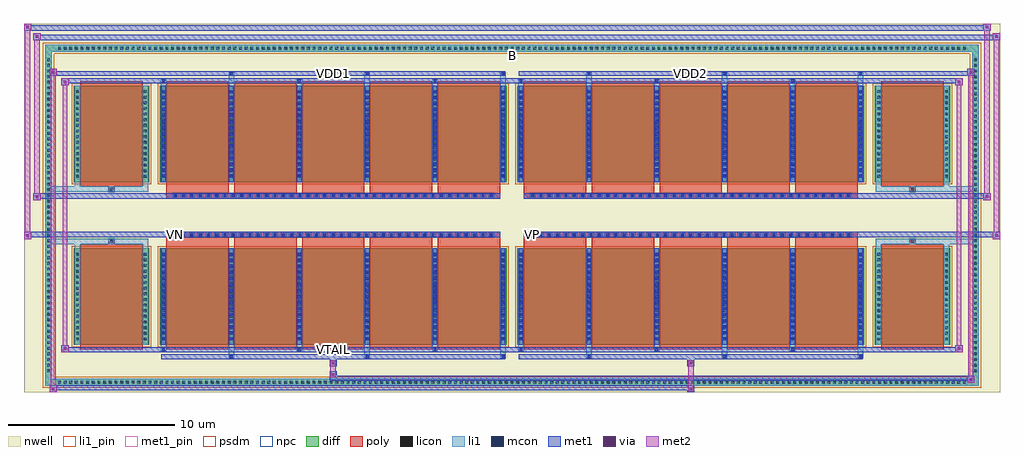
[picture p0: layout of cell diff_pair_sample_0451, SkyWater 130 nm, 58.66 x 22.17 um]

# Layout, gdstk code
import gdstk
lib = gdstk.Library(unit=1e-6, precision=5e-09)
def R(c, l, rs):  # rectangles x0, y0, x1, y1
    for r in rs: c.add(gdstk.rectangle(r[:2], r[2:], *l))
def A(c, l, x, y, w, h, nx, ny, dx, dy):  # array of equal rectangles
    R(c, l, [(x+i*dx, y+j*dy, x+i*dx+w, y+j*dy+h) for i in range(nx) for j in range(ny)])
def P(c, l, *ps):  # polygons
    for p in ps: c.add(gdstk.Polygon(p, *l))
nwell = (64, 20)
diff = (65, 20)
poly = (66, 20)
licon = (66, 44)
li1_pin = (67, 16)
li1 = (67, 20)
mcon = (67, 44)
met1_pin = (68, 16)
met1 = (68, 20)
via = (68, 44)
met2 = (69, 20)
psdm = (94, 20)
npc = (95, 20)

diff_pair_sample_0451 = lib.new_cell('diff_pair_sample_0451')
R(diff_pair_sample_0451, nwell, [(-29.33,-10.65,29.33,11.52), (-26.65,-8.84,-0.01,-0.8), (0.01,-8.84,26.65,-0.8), (-26.65,0.8,-0.01,8.84), (0.01,0.8,26.65,8.84)])
A(diff_pair_sample_0451, diff, -27.405, -10.25, 0.41, 0.41, 161, 2, 0.34, 20.09)
A(diff_pair_sample_0451, diff, -28.06, -9.555, 0.41, 0.41, 1, 56, 0, 0.34)
A(diff_pair_sample_0451, diff, 27.65, -9.555, 0.41, 0.41, 1, 56, 0, 0.34)
R(diff_pair_sample_0451, diff, [(-27.405,-10.25,27.405,-9.84), (-28.06,-9.555,-27.65,9.555), (27.65,-9.555,28.06,9.555), (-26.34,-7.795,-21.81,-1.985), (-21.17,-7.795,-0.32,-1.985), (0.32,-7.795,21.17,-1.985), (21.81,-7.795,26.34,-1.985), (-26.34,1.985,-21.81,7.795), (-21.17,1.985,-0.32,7.795), (0.32,1.985,21.17,7.795), (21.81,1.985,26.34,7.795), (-27.405,9.84,27.405,10.25)])
P(diff_pair_sample_0451, diff, [(28.06,10.25),(-28.06,10.25),(-28.06,-9.84),(-27.65,-9.84),(-27.65,9.84),(27.65,9.84),(27.65,-9.84),(-27.65,-9.84),(-28.06,-9.84),(-28.06,-10.25),(28.06,-10.25)])
A(diff_pair_sample_0451, poly, -20.78, -8.045, 3.75, 6.31, 5, 2, 4.08, 9.78)
A(diff_pair_sample_0451, poly, 0.71, -8.045, 3.75, 6.31, 5, 2, 4.08, 9.78)
A(diff_pair_sample_0451, poly, -20.78, -1.735, 3.75, 0.405, 5, 2, 4.08, 3.065)
A(diff_pair_sample_0451, poly, 0.71, -1.735, 3.75, 0.405, 5, 2, 4.08, 3.065)
A(diff_pair_sample_0451, poly, -20.41, -1.33, 0.33, 0.33, 39, 2, 0.5, 2.33)
A(diff_pair_sample_0451, poly, 1.08, -1.33, 0.33, 0.33, 39, 2, 0.5, 2.33)
R(diff_pair_sample_0451, poly, [(-25.95,-8.045,-22.2,-1.735), (22.2,-8.045,25.95,-1.735), (-24.24,-1.735,-23.91,-1.405), (-24.24,-1.735,-23.91,-1.405), (23.91,-1.735,24.24,-1.405), (23.91,-1.735,24.24,-1.405), (-20.78,-1.33,-0.71,-1), (0.71,-1.33,20.78,-1), (-20.78,1,-0.71,1.33), (0.71,1,20.78,1.33), (-24.24,1.405,-23.91,1.735), (-24.24,1.405,-23.91,1.735), (23.91,1.405,24.24,1.735), (23.91,1.405,24.24,1.735), (-25.95,1.735,-22.2,8.045), (22.2,1.735,25.95,8.045)])
A(diff_pair_sample_0451, licon, -27.285, -10.13, 0.17, 0.17, 161, 2, 0.34, 20.09)
A(diff_pair_sample_0451, licon, -27.94, -9.435, 0.17, 0.17, 1, 56, 0, 0.34)
A(diff_pair_sample_0451, licon, 27.77, -9.435, 0.17, 0.17, 1, 56, 0, 0.34)
A(diff_pair_sample_0451, licon, -26.2, -7.525, 0.17, 0.17, 1, 16, 0, 0.34)
A(diff_pair_sample_0451, licon, -22.12, -7.525, 0.17, 0.17, 1, 16, 0, 0.34)
A(diff_pair_sample_0451, licon, -21.03, -7.525, 0.17, 0.17, 6, 16, 4.08, 0.34)
A(diff_pair_sample_0451, licon, 0.46, -7.525, 0.17, 0.17, 6, 16, 4.08, 0.34)
A(diff_pair_sample_0451, licon, 21.95, -7.525, 0.17, 0.17, 1, 16, 0, 0.34)
A(diff_pair_sample_0451, licon, 26.03, -7.525, 0.17, 0.17, 1, 16, 0, 0.34)
A(diff_pair_sample_0451, licon, -20.33, -1.25, 0.17, 0.17, 39, 2, 0.5, 2.33)
A(diff_pair_sample_0451, licon, 1.16, -1.25, 0.17, 0.17, 39, 2, 0.5, 2.33)
A(diff_pair_sample_0451, licon, -26.2, 2.255, 0.17, 0.17, 1, 16, 0, 0.34)
A(diff_pair_sample_0451, licon, -22.12, 2.255, 0.17, 0.17, 1, 16, 0, 0.34)
A(diff_pair_sample_0451, licon, -21.03, 2.255, 0.17, 0.17, 6, 16, 4.08, 0.34)
A(diff_pair_sample_0451, licon, 0.46, 2.255, 0.17, 0.17, 6, 16, 4.08, 0.34)
A(diff_pair_sample_0451, licon, 21.95, 2.255, 0.17, 0.17, 1, 16, 0, 0.34)
A(diff_pair_sample_0451, licon, 26.03, 2.255, 0.17, 0.17, 1, 16, 0, 0.34)
R(diff_pair_sample_0451, licon, [(-24.16,-1.655,-23.99,-1.485), (23.99,-1.655,24.16,-1.485), (-24.16,1.485,-23.99,1.655), (23.99,1.485,24.16,1.655)])
R(diff_pair_sample_0451, li1_pin, [(-0.25,9.34,0.25,9.84)])
A(diff_pair_sample_0451, li1, -27.365, -10.21, 0.33, 0.33, 161, 2, 0.34, 20.09)
A(diff_pair_sample_0451, li1, -28.02, -9.515, 0.33, 0.33, 1, 56, 0, 0.34)
A(diff_pair_sample_0451, li1, 27.69, -9.515, 0.33, 0.33, 1, 56, 0, 0.34)
A(diff_pair_sample_0451, li1, -17.03, -8.6, 0.33, 0.805, 3, 2, 8.16, 16.395)
A(diff_pair_sample_0451, li1, -16.95, -8.6, 0.17, 0.17, 3, 2, 8.16, 17.03)
A(diff_pair_sample_0451, li1, 4.46, -8.6, 0.33, 0.805, 3, 2, 8.16, 16.395)
A(diff_pair_sample_0451, li1, 4.54, -8.6, 0.17, 0.17, 3, 2, 8.16, 17.03)
A(diff_pair_sample_0451, li1, -21.11, -8.17, 0.33, 0.375, 3, 2, 8.16, 15.965)
A(diff_pair_sample_0451, li1, -21.03, -8.17, 0.17, 0.17, 3, 2, 8.16, 16.17)
A(diff_pair_sample_0451, li1, 0.38, -8.17, 0.33, 0.375, 3, 2, 8.16, 15.965)
A(diff_pair_sample_0451, li1, 0.46, -8.17, 0.17, 0.17, 3, 2, 8.16, 16.17)
A(diff_pair_sample_0451, li1, -21.11, -7.795, 0.33, 5.81, 6, 2, 4.08, 9.78)
A(diff_pair_sample_0451, li1, 0.38, -7.795, 0.33, 5.81, 6, 2, 4.08, 9.78)
A(diff_pair_sample_0451, li1, -26.28, -7.605, 0.33, 0.33, 1, 16, 0, 0.34)
A(diff_pair_sample_0451, li1, -22.2, -7.605, 0.33, 0.33, 1, 16, 0, 0.34)
A(diff_pair_sample_0451, li1, -21.11, -7.605, 0.33, 0.33, 6, 16, 4.08, 0.34)
A(diff_pair_sample_0451, li1, 0.38, -7.605, 0.33, 0.33, 6, 16, 4.08, 0.34)
A(diff_pair_sample_0451, li1, 21.87, -7.605, 0.33, 0.33, 1, 16, 0, 0.34)
A(diff_pair_sample_0451, li1, 25.95, -7.605, 0.33, 0.33, 1, 16, 0, 0.34)
A(diff_pair_sample_0451, li1, -21.03, -7.495, 0.17, 0.17, 6, 15, 4.08, 0.36)
A(diff_pair_sample_0451, li1, -21.03, -7.495, 0.17, 5.21, 6, 2, 4.08, 9.78)
A(diff_pair_sample_0451, li1, 0.46, -7.495, 0.17, 0.17, 6, 15, 4.08, 0.36)
A(diff_pair_sample_0451, li1, 0.46, -7.495, 0.17, 5.21, 6, 2, 4.08, 9.78)
A(diff_pair_sample_0451, li1, -20.41, -1.33, 0.33, 0.33, 39, 2, 0.5, 2.33)
A(diff_pair_sample_0451, li1, 1.08, -1.33, 0.33, 0.33, 39, 2, 0.5, 2.33)
A(diff_pair_sample_0451, li1, -26.28, 2.175, 0.33, 0.33, 1, 16, 0, 0.34)
A(diff_pair_sample_0451, li1, -22.2, 2.175, 0.33, 0.33, 1, 16, 0, 0.34)
A(diff_pair_sample_0451, li1, -21.11, 2.175, 0.33, 0.33, 6, 16, 4.08, 0.34)
A(diff_pair_sample_0451, li1, 0.38, 2.175, 0.33, 0.33, 6, 16, 4.08, 0.34)
A(diff_pair_sample_0451, li1, 21.87, 2.175, 0.33, 0.33, 1, 16, 0, 0.34)
A(diff_pair_sample_0451, li1, 25.95, 2.175, 0.33, 0.33, 1, 16, 0, 0.34)
A(diff_pair_sample_0451, li1, -21.03, 2.285, 0.17, 0.17, 6, 15, 4.08, 0.36)
A(diff_pair_sample_0451, li1, 0.46, 2.285, 0.17, 0.17, 6, 15, 4.08, 0.36)
R(diff_pair_sample_0451, li1, [(-28.06,-10.25,-27.65,-9.84), (-28.06,-10.25,-27.65,-9.84), (-27.65,-10.25,27.65,-9.84), (27.65,-10.25,28.06,-9.84), (27.65,-10.25,28.06,-9.84), (-28.06,-9.84,-27.65,9.84), (27.65,-9.84,28.06,9.84), (-26.28,-7.795,-25.95,-1.985), (-22.2,-7.795,-21.87,-1.985), (21.87,-7.795,22.2,-1.985), (25.95,-7.795,26.28,-1.985), (-26.28,-1.985,-25.95,-1.405), (-22.2,-1.985,-21.87,-1.405), (21.87,-1.985,22.2,-1.405), (25.95,-1.985,26.28,-1.405), (-28.06,-1.735,-24.24,-1.405), (-26.28,-1.735,-24.24,-1.405), (-24.24,-1.735,-23.91,-1.405), (-23.91,-1.735,-21.87,-1.405), (21.87,-1.735,23.91,-1.405), (23.91,-1.735,24.24,-1.405), (23.91,-1.735,28.06,-1.405), (24.24,-1.735,26.28,-1.405), (-28.06,1.405,-24.24,1.735), (-26.28,1.405,-24.24,1.735), (-26.28,1.405,-25.95,1.985), (-24.24,1.405,-23.91,1.735), (-23.91,1.405,-21.87,1.735), (-22.2,1.405,-21.87,1.985), (21.87,1.405,23.91,1.735), (21.87,1.405,22.2,1.985), (23.91,1.405,24.24,1.735), (23.91,1.405,28.06,1.735), (24.24,1.405,26.28,1.735), (25.95,1.405,26.28,1.985), (-26.28,1.985,-25.95,7.795), (-22.2,1.985,-21.87,7.795), (21.87,1.985,22.2,7.795), (25.95,1.985,26.28,7.795), (-28.06,9.84,-27.65,10.25), (-28.06,9.84,-27.65,10.25), (-27.65,9.84,27.65,10.25), (27.65,9.84,28.06,10.25), (27.65,9.84,28.06,10.25)])
A(diff_pair_sample_0451, mcon, -16.95, -8.6, 0.17, 0.17, 3, 2, 8.16, 17.03)
A(diff_pair_sample_0451, mcon, 4.54, -8.6, 0.17, 0.17, 3, 2, 8.16, 17.03)
A(diff_pair_sample_0451, mcon, -21.03, -8.17, 0.17, 0.17, 3, 2, 8.16, 16.17)
A(diff_pair_sample_0451, mcon, 0.46, -8.17, 0.17, 0.17, 3, 2, 8.16, 16.17)
A(diff_pair_sample_0451, mcon, -21.03, -7.495, 0.17, 0.17, 6, 15, 4.08, 0.36)
A(diff_pair_sample_0451, mcon, 0.46, -7.495, 0.17, 0.17, 6, 15, 4.08, 0.36)
A(diff_pair_sample_0451, mcon, -20.33, -1.25, 0.17, 0.17, 39, 2, 0.5, 2.33)
A(diff_pair_sample_0451, mcon, 1.16, -1.25, 0.17, 0.17, 39, 2, 0.5, 2.33)
A(diff_pair_sample_0451, mcon, -21.03, 2.285, 0.17, 0.17, 6, 15, 4.08, 0.36)
A(diff_pair_sample_0451, mcon, 0.46, 2.285, 0.17, 0.17, 6, 15, 4.08, 0.36)
R(diff_pair_sample_0451, met1_pin, [(-10.88,-8.21,-10.61,-7.94), (-20.38,-1.29,-20.11,-1.02), (1.11,-1.29,1.38,-1.02), (-10.88,8.39,-10.61,8.66), (10.61,8.39,10.88,8.66)])
A(diff_pair_sample_0451, met1, -17.01, -8.66, 0.29, 0.29, 3, 2, 8.16, 17.03)
A(diff_pair_sample_0451, met1, 4.48, -8.66, 0.29, 0.29, 3, 2, 8.16, 17.03)
A(diff_pair_sample_0451, met1, -21.09, -8.23, 0.29, 0.29, 3, 2, 8.16, 16.17)
A(diff_pair_sample_0451, met1, 0.4, -8.23, 0.29, 0.29, 3, 2, 8.16, 16.17)
A(diff_pair_sample_0451, met1, -21.09, -7.795, 0.29, 5.81, 6, 2, 4.08, 9.78)
A(diff_pair_sample_0451, met1, 0.4, -7.795, 0.29, 5.81, 6, 2, 4.08, 9.78)
A(diff_pair_sample_0451, met1, -21.09, -7.555, 0.29, 0.29, 6, 15, 4.08, 0.36)
A(diff_pair_sample_0451, met1, 0.4, -7.555, 0.29, 0.29, 6, 15, 4.08, 0.36)
A(diff_pair_sample_0451, met1, -20.39, -1.31, 0.29, 0.29, 39, 2, 0.5, 2.33)
A(diff_pair_sample_0451, met1, 1.1, -1.31, 0.29, 0.29, 39, 2, 0.5, 2.33)
A(diff_pair_sample_0451, met1, -21.09, 2.225, 0.29, 0.29, 6, 15, 4.08, 0.36)
A(diff_pair_sample_0451, met1, 0.4, 2.225, 0.29, 0.29, 6, 15, 4.08, 0.36)
R(diff_pair_sample_0451, met1, [(-27.79,-10.65,-27.36,-10.22), (10.53,-10.65,10.96,-10.22), (-27.79,-10.51,10.96,-10.22), (27.36,-10.08,27.79,-9.65), (-10.96,-9.94,27.79,-9.65), (-10.96,-9.8,-10.53,-9.37), (-10.96,-9.09,-10.53,-8.66), (10.53,-9.09,10.96,-8.66), (-21.09,-8.66,-0.4,-8.37), (0.4,-8.66,21.09,-8.37), (-27.08,-8.23,-26.65,-7.8), (-27.08,-8.23,-21.09,-7.94), (-21.09,-8.23,-0.4,-7.94), (-0.4,-8.23,0.4,-7.94), (0.4,-8.23,21.09,-7.94), (21.09,-8.23,27.08,-7.94), (26.65,-8.23,27.08,-7.8), (-29.33,-1.43,-28.9,-1), (28.9,-1.43,29.33,-1), (-29.33,-1.33,-0.71,-1), (-20.78,-1.33,-0.71,-1), (0.71,-1.33,20.78,-1), (0.71,-1.33,29.33,-1), (-28.76,0.9,-28.33,1.33), (28.33,0.9,28.76,1.33), (-28.76,1,-20.78,1.33), (-20.78,1,-0.71,1.33), (0.71,1,20.78,1.33), (20.78,1,28.76,1.33), (-27.08,7.8,-26.65,8.23), (26.65,7.8,27.08,8.23), (-27.08,7.94,-21.09,8.23), (-21.09,7.94,-0.4,8.23), (-0.4,7.94,0.4,8.23), (0.4,7.94,21.09,8.23), (21.09,7.94,27.08,8.23), (-27.79,8.37,-27.36,8.8), (-27.79,8.37,-21.09,8.66), (-21.09,8.37,-0.4,8.66), (0.4,8.37,21.09,8.66), (21.09,8.37,27.79,8.66), (27.36,8.37,27.79,8.8), (-28.76,10.52,-28.33,10.95), (-28.76,10.52,-26.65,10.85), (-26.65,10.52,26.65,10.85), (26.65,10.52,29.33,10.85), (28.9,10.52,29.33,10.95), (-29.33,11.09,-28.9,11.52), (-29.33,11.09,-26.65,11.42), (-26.65,11.09,26.65,11.42), (26.65,11.09,28.76,11.42), (28.33,11.09,28.76,11.52)])
R(diff_pair_sample_0451, via, [(-27.65,-10.51,-27.5,-10.36), (10.67,-10.51,10.82,-10.36), (27.5,-9.94,27.65,-9.79), (-10.82,-9.66,-10.67,-9.51), (-10.82,-8.95,-10.67,-8.8), (10.67,-8.95,10.82,-8.8), (-26.94,-8.09,-26.79,-7.94), (26.79,-8.09,26.94,-7.94), (-29.19,-1.29,-29.04,-1.14), (29.04,-1.29,29.19,-1.14), (-28.62,1.04,-28.47,1.19), (28.47,1.04,28.62,1.19), (-26.94,7.94,-26.79,8.09), (26.79,7.94,26.94,8.09), (-27.65,8.51,-27.5,8.66), (27.5,8.51,27.65,8.66), (-28.62,10.66,-28.47,10.81), (29.04,10.66,29.19,10.81), (-29.19,11.23,-29.04,11.38), (28.47,11.23,28.62,11.38)])
R(diff_pair_sample_0451, met2, [(-27.79,-10.65,-27.36,-10.22), (-27.72,-10.65,-27.43,8.8), (-27.43,-10.65,-27.36,-10.22), (-27.74,-10.6,-27.41,-10.27), (10.58,-10.6,10.91,-10.27), (10.58,-10.27,10.91,-9.04), (27.36,-10.08,27.79,-9.65), (27.43,-10.08,27.72,8.8), (27.72,-10.08,27.79,-9.65), (27.41,-10.03,27.74,-9.7), (-10.91,-9.75,-10.58,-9.42), (-10.91,-9.42,-10.58,-9.04), (-10.91,-9.04,-10.58,-8.71), (10.58,-9.04,10.91,-8.71), (-27.08,-8.23,-26.65,-7.8), (-27.01,-8.23,-26.72,8.23), (-26.72,-8.23,-26.65,-7.8), (26.65,-8.23,27.08,-7.8), (26.72,-8.23,27.01,8.23), (27.01,-8.23,27.08,-7.8), (-27.03,-8.18,-26.7,-7.85), (26.7,-8.18,27.03,-7.85), (-29.33,-1.43,-28.9,-1), (-29.28,-1.43,-28.95,11.52), (-28.95,-1.43,-28.9,-1), (28.9,-1.43,29.33,-1), (28.95,-1.43,29.28,10.95), (29.28,-1.43,29.33,-1), (-29.28,-1.38,-28.95,-1.05), (28.95,-1.38,29.28,-1.05), (-28.76,0.9,-28.33,1.33), (-28.71,0.9,-28.38,10.95), (-28.38,0.9,-28.33,1.33), (28.33,0.9,28.76,1.33), (28.38,0.9,28.71,11.52), (28.71,0.9,28.76,1.33), (-28.71,0.95,-28.38,1.28), (28.38,0.95,28.71,1.28), (-27.08,7.8,-26.65,8.23), (-26.72,7.8,-26.65,8.23), (26.65,7.8,27.08,8.23), (27.01,7.8,27.08,8.23), (-27.03,7.85,-26.7,8.18), (26.7,7.85,27.03,8.18), (-27.79,8.37,-27.36,8.8), (-27.43,8.37,-27.36,8.8), (27.36,8.37,27.79,8.8), (27.72,8.37,27.79,8.8), (-27.74,8.42,-27.41,8.75), (27.41,8.42,27.74,8.75), (-28.76,10.52,-28.33,10.95), (-28.38,10.52,-28.33,10.95), (28.9,10.52,29.33,10.95), (29.28,10.52,29.33,10.95), (-28.71,10.57,-28.38,10.9), (28.95,10.57,29.28,10.9), (-29.33,11.09,-28.9,11.52), (-28.95,11.09,-28.9,11.52), (28.33,11.09,28.76,11.52), (28.71,11.09,28.76,11.52), (-29.28,11.14,-28.95,11.47), (28.38,11.14,28.71,11.47)])
R(diff_pair_sample_0451, psdm, [(-26.47,-7.925,-21.68,-1.855), (-21.3,-7.925,-0.19,-1.855), (0.19,-7.925,21.3,-1.855), (21.68,-7.925,26.47,-1.855), (-26.47,1.855,-21.68,7.925), (-21.3,1.855,-0.19,7.925), (0.19,1.855,21.3,7.925), (21.68,1.855,26.47,7.925)])
P(diff_pair_sample_0451, psdm, [(28.19,10.38),(-28.19,10.38),(-28.19,-9.71),(-27.52,-9.71),(-27.52,9.71),(27.52,9.71),(27.52,-9.71),(-27.52,-9.71),(-28.19,-9.71),(-28.19,-10.38),(28.19,-10.38)])
A(diff_pair_sample_0451, npc, -20.43, -1.35, 0.37, 0.37, 39, 2, 0.5, 2.33)
A(diff_pair_sample_0451, npc, 1.06, -1.35, 0.37, 0.37, 39, 2, 0.5, 2.33)
R(diff_pair_sample_0451, npc, [(-24.26,-1.755,-23.89,-1.385), (23.89,-1.755,24.26,-1.385), (-20.43,-1.35,-19.56,-0.98), (-20.43,-1.35,-19.56,-0.98), (-19.93,-1.35,-19.06,-0.98), (-19.93,-1.35,-19.06,-0.98), (-19.43,-1.35,-18.56,-0.98), (-19.43,-1.35,-18.56,-0.98), (-18.93,-1.35,-18.06,-0.98), (-18.93,-1.35,-18.06,-0.98), (-18.43,-1.35,-17.56,-0.98), (-18.43,-1.35,-17.56,-0.98), (-17.93,-1.35,-17.06,-0.98), (-17.93,-1.35,-17.06,-0.98), (-17.43,-1.35,-16.56,-0.98), (-17.43,-1.35,-16.56,-0.98), (-16.93,-1.35,-16.06,-0.98), (-16.93,-1.35,-16.06,-0.98), (-16.43,-1.35,-15.56,-0.98), (-16.43,-1.35,-15.56,-0.98), (-15.93,-1.35,-15.06,-0.98), (-15.93,-1.35,-15.06,-0.98), (-15.43,-1.35,-14.56,-0.98), (-15.43,-1.35,-14.56,-0.98), (-14.93,-1.35,-14.06,-0.98), (-14.93,-1.35,-14.06,-0.98), (-14.43,-1.35,-13.56,-0.98), (-14.43,-1.35,-13.56,-0.98), (-13.93,-1.35,-13.06,-0.98), (-13.93,-1.35,-13.06,-0.98), (-13.43,-1.35,-12.56,-0.98), (-13.43,-1.35,-12.56,-0.98), (-12.93,-1.35,-12.06,-0.98), (-12.93,-1.35,-12.06,-0.98), (-12.43,-1.35,-11.56,-0.98), (-12.43,-1.35,-11.56,-0.98), (-11.93,-1.35,-11.06,-0.98), (-11.93,-1.35,-11.06,-0.98), (-11.43,-1.35,-10.56,-0.98), (-11.43,-1.35,-10.56,-0.98), (-10.93,-1.35,-10.06,-0.98), (-10.93,-1.35,-10.06,-0.98), (-10.43,-1.35,-9.56,-0.98), (-10.43,-1.35,-9.56,-0.98), (-9.93,-1.35,-9.06,-0.98), (-9.93,-1.35,-9.06,-0.98), (-9.43,-1.35,-8.56,-0.98), (-9.43,-1.35,-8.56,-0.98), (-8.93,-1.35,-8.06,-0.98), (-8.93,-1.35,-8.06,-0.98), (-8.43,-1.35,-7.56,-0.98), (-8.43,-1.35,-7.56,-0.98), (-7.93,-1.35,-7.06,-0.98), (-7.93,-1.35,-7.06,-0.98), (-7.43,-1.35,-6.56,-0.98), (-7.43,-1.35,-6.56,-0.98), (-6.93,-1.35,-6.06,-0.98), (-6.93,-1.35,-6.06,-0.98), (-6.43,-1.35,-5.56,-0.98), (-6.43,-1.35,-5.56,-0.98), (-5.93,-1.35,-5.06,-0.98), (-5.93,-1.35,-5.06,-0.98), (-5.43,-1.35,-4.56,-0.98), (-5.43,-1.35,-4.56,-0.98), (-4.93,-1.35,-4.06,-0.98), (-4.93,-1.35,-4.06,-0.98), (-4.43,-1.35,-3.56,-0.98), (-4.43,-1.35,-3.56,-0.98), (-3.93,-1.35,-3.06,-0.98), (-3.93,-1.35,-3.06,-0.98), (-3.43,-1.35,-2.56,-0.98), (-3.43,-1.35,-2.56,-0.98), (-2.93,-1.35,-2.06,-0.98), (-2.93,-1.35,-2.06,-0.98), (-2.43,-1.35,-1.56,-0.98), (-2.43,-1.35,-1.56,-0.98), (-1.93,-1.35,-1.06,-0.98), (-1.93,-1.35,-1.06,-0.98), (1.06,-1.35,1.93,-0.98), (1.06,-1.35,1.93,-0.98), (1.56,-1.35,2.43,-0.98), (1.56,-1.35,2.43,-0.98), (2.06,-1.35,2.93,-0.98), (2.06,-1.35,2.93,-0.98), (2.56,-1.35,3.43,-0.98), (2.56,-1.35,3.43,-0.98), (3.06,-1.35,3.93,-0.98), (3.06,-1.35,3.93,-0.98), (3.56,-1.35,4.43,-0.98), (3.56,-1.35,4.43,-0.98), (4.06,-1.35,4.93,-0.98), (4.06,-1.35,4.93,-0.98), (4.56,-1.35,5.43,-0.98), (4.56,-1.35,5.43,-0.98), (5.06,-1.35,5.93,-0.98), (5.06,-1.35,5.93,-0.98), (5.56,-1.35,6.43,-0.98), (5.56,-1.35,6.43,-0.98), (6.06,-1.35,6.93,-0.98), (6.06,-1.35,6.93,-0.98), (6.56,-1.35,7.43,-0.98), (6.56,-1.35,7.43,-0.98), (7.06,-1.35,7.93,-0.98), (7.06,-1.35,7.93,-0.98), (7.56,-1.35,8.43,-0.98), (7.56,-1.35,8.43,-0.98), (8.06,-1.35,8.93,-0.98), (8.06,-1.35,8.93,-0.98), (8.56,-1.35,9.43,-0.98), (8.56,-1.35,9.43,-0.98), (9.06,-1.35,9.93,-0.98), (9.06,-1.35,9.93,-0.98), (9.56,-1.35,10.43,-0.98), (9.56,-1.35,10.43,-0.98), (10.06,-1.35,10.93,-0.98), (10.06,-1.35,10.93,-0.98), (10.56,-1.35,11.43,-0.98), (10.56,-1.35,11.43,-0.98), (11.06,-1.35,11.93,-0.98), (11.06,-1.35,11.93,-0.98), (11.56,-1.35,12.43,-0.98), (11.56,-1.35,12.43,-0.98), (12.06,-1.35,12.93,-0.98), (12.06,-1.35,12.93,-0.98), (12.56,-1.35,13.43,-0.98), (12.56,-1.35,13.43,-0.98), (13.06,-1.35,13.93,-0.98), (13.06,-1.35,13.93,-0.98), (13.56,-1.35,14.43,-0.98), (13.56,-1.35,14.43,-0.98), (14.06,-1.35,14.93,-0.98), (14.06,-1.35,14.93,-0.98), (14.56,-1.35,15.43,-0.98), (14.56,-1.35,15.43,-0.98), (15.06,-1.35,15.93,-0.98), (15.06,-1.35,15.93,-0.98), (15.56,-1.35,16.43,-0.98), (15.56,-1.35,16.43,-0.98), (16.06,-1.35,16.93,-0.98), (16.06,-1.35,16.93,-0.98), (16.56,-1.35,17.43,-0.98), (16.56,-1.35,17.43,-0.98), (17.06,-1.35,17.93,-0.98), (17.06,-1.35,17.93,-0.98), (17.56,-1.35,18.43,-0.98), (17.56,-1.35,18.43,-0.98), (18.06,-1.35,18.93,-0.98), (18.06,-1.35,18.93,-0.98), (18.56,-1.35,19.43,-0.98), (18.56,-1.35,19.43,-0.98), (19.06,-1.35,19.93,-0.98), (19.06,-1.35,19.93,-0.98), (19.56,-1.35,20.43,-0.98), (19.56,-1.35,20.43,-0.98), (-20.43,0.98,-19.56,1.35), (-20.43,0.98,-19.56,1.35), (-19.93,0.98,-19.06,1.35), (-19.93,0.98,-19.06,1.35), (-19.43,0.98,-18.56,1.35), (-19.43,0.98,-18.56,1.35), (-18.93,0.98,-18.06,1.35), (-18.93,0.98,-18.06,1.35), (-18.43,0.98,-17.56,1.35), (-18.43,0.98,-17.56,1.35), (-17.93,0.98,-17.06,1.35), (-17.93,0.98,-17.06,1.35), (-17.43,0.98,-16.56,1.35), (-17.43,0.98,-16.56,1.35), (-16.93,0.98,-16.06,1.35), (-16.93,0.98,-16.06,1.35), (-16.43,0.98,-15.56,1.35), (-16.43,0.98,-15.56,1.35), (-15.93,0.98,-15.06,1.35), (-15.93,0.98,-15.06,1.35), (-15.43,0.98,-14.56,1.35), (-15.43,0.98,-14.56,1.35), (-14.93,0.98,-14.06,1.35), (-14.93,0.98,-14.06,1.35), (-14.43,0.98,-13.56,1.35), (-14.43,0.98,-13.56,1.35), (-13.93,0.98,-13.06,1.35), (-13.93,0.98,-13.06,1.35), (-13.43,0.98,-12.56,1.35), (-13.43,0.98,-12.56,1.35), (-12.93,0.98,-12.06,1.35), (-12.93,0.98,-12.06,1.35), (-12.43,0.98,-11.56,1.35), (-12.43,0.98,-11.56,1.35), (-11.93,0.98,-11.06,1.35), (-11.93,0.98,-11.06,1.35), (-11.43,0.98,-10.56,1.35), (-11.43,0.98,-10.56,1.35), (-10.93,0.98,-10.06,1.35), (-10.93,0.98,-10.06,1.35), (-10.43,0.98,-9.56,1.35), (-10.43,0.98,-9.56,1.35), (-9.93,0.98,-9.06,1.35), (-9.93,0.98,-9.06,1.35), (-9.43,0.98,-8.56,1.35), (-9.43,0.98,-8.56,1.35), (-8.93,0.98,-8.06,1.35), (-8.93,0.98,-8.06,1.35), (-8.43,0.98,-7.56,1.35), (-8.43,0.98,-7.56,1.35), (-7.93,0.98,-7.06,1.35), (-7.93,0.98,-7.06,1.35), (-7.43,0.98,-6.56,1.35), (-7.43,0.98,-6.56,1.35), (-6.93,0.98,-6.06,1.35), (-6.93,0.98,-6.06,1.35), (-6.43,0.98,-5.56,1.35), (-6.43,0.98,-5.56,1.35), (-5.93,0.98,-5.06,1.35), (-5.93,0.98,-5.06,1.35), (-5.43,0.98,-4.56,1.35), (-5.43,0.98,-4.56,1.35), (-4.93,0.98,-4.06,1.35), (-4.93,0.98,-4.06,1.35), (-4.43,0.98,-3.56,1.35), (-4.43,0.98,-3.56,1.35), (-3.93,0.98,-3.06,1.35), (-3.93,0.98,-3.06,1.35), (-3.43,0.98,-2.56,1.35), (-3.43,0.98,-2.56,1.35), (-2.93,0.98,-2.06,1.35), (-2.93,0.98,-2.06,1.35), (-2.43,0.98,-1.56,1.35), (-2.43,0.98,-1.56,1.35), (-1.93,0.98,-1.06,1.35), (-1.93,0.98,-1.06,1.35), (1.06,0.98,1.93,1.35), (1.06,0.98,1.93,1.35), (1.56,0.98,2.43,1.35), (1.56,0.98,2.43,1.35), (2.06,0.98,2.93,1.35), (2.06,0.98,2.93,1.35), (2.56,0.98,3.43,1.35), (2.56,0.98,3.43,1.35), (3.06,0.98,3.93,1.35), (3.06,0.98,3.93,1.35), (3.56,0.98,4.43,1.35), (3.56,0.98,4.43,1.35), (4.06,0.98,4.93,1.35), (4.06,0.98,4.93,1.35), (4.56,0.98,5.43,1.35), (4.56,0.98,5.43,1.35), (5.06,0.98,5.93,1.35), (5.06,0.98,5.93,1.35), (5.56,0.98,6.43,1.35), (5.56,0.98,6.43,1.35), (6.06,0.98,6.93,1.35), (6.06,0.98,6.93,1.35), (6.56,0.98,7.43,1.35), (6.56,0.98,7.43,1.35), (7.06,0.98,7.93,1.35), (7.06,0.98,7.93,1.35), (7.56,0.98,8.43,1.35), (7.56,0.98,8.43,1.35), (8.06,0.98,8.93,1.35), (8.06,0.98,8.93,1.35), (8.56,0.98,9.43,1.35), (8.56,0.98,9.43,1.35), (9.06,0.98,9.93,1.35), (9.06,0.98,9.93,1.35), (9.56,0.98,10.43,1.35), (9.56,0.98,10.43,1.35), (10.06,0.98,10.93,1.35), (10.06,0.98,10.93,1.35), (10.56,0.98,11.43,1.35), (10.56,0.98,11.43,1.35), (11.06,0.98,11.93,1.35), (11.06,0.98,11.93,1.35), (11.56,0.98,12.43,1.35), (11.56,0.98,12.43,1.35), (12.06,0.98,12.93,1.35), (12.06,0.98,12.93,1.35), (12.56,0.98,13.43,1.35), (12.56,0.98,13.43,1.35), (13.06,0.98,13.93,1.35), (13.06,0.98,13.93,1.35), (13.56,0.98,14.43,1.35), (13.56,0.98,14.43,1.35), (14.06,0.98,14.93,1.35), (14.06,0.98,14.93,1.35), (14.56,0.98,15.43,1.35), (14.56,0.98,15.43,1.35), (15.06,0.98,15.93,1.35), (15.06,0.98,15.93,1.35), (15.56,0.98,16.43,1.35), (15.56,0.98,16.43,1.35), (16.06,0.98,16.93,1.35), (16.06,0.98,16.93,1.35), (16.56,0.98,17.43,1.35), (16.56,0.98,17.43,1.35), (17.06,0.98,17.93,1.35), (17.06,0.98,17.93,1.35), (17.56,0.98,18.43,1.35), (17.56,0.98,18.43,1.35), (18.06,0.98,18.93,1.35), (18.06,0.98,18.93,1.35), (18.56,0.98,19.43,1.35), (18.56,0.98,19.43,1.35), (19.06,0.98,19.93,1.35), (19.06,0.98,19.93,1.35), (19.56,0.98,20.43,1.35), (19.56,0.98,20.43,1.35), (-24.26,1.385,-23.89,1.755), (23.89,1.385,24.26,1.755)])
diff_pair_sample_0451.add(gdstk.Label('VTAIL', (-10.745,-8.075), layer=68, texttype=5))
diff_pair_sample_0451.add(gdstk.Label('VN', (-20.245,-1.155), layer=68, texttype=5))
diff_pair_sample_0451.add(gdstk.Label('VP', (1.245,-1.155), layer=68, texttype=5))
diff_pair_sample_0451.add(gdstk.Label('B', (0,9.59), layer=67, texttype=5))
diff_pair_sample_0451.add(gdstk.Label('VDD2', (10.745,8.525), layer=68, texttype=5))
diff_pair_sample_0451.add(gdstk.Label('VDD1', (-10.745,8.525), layer=68, texttype=5))

lib.write_gds('diff_pair_sample_0451.gds')
